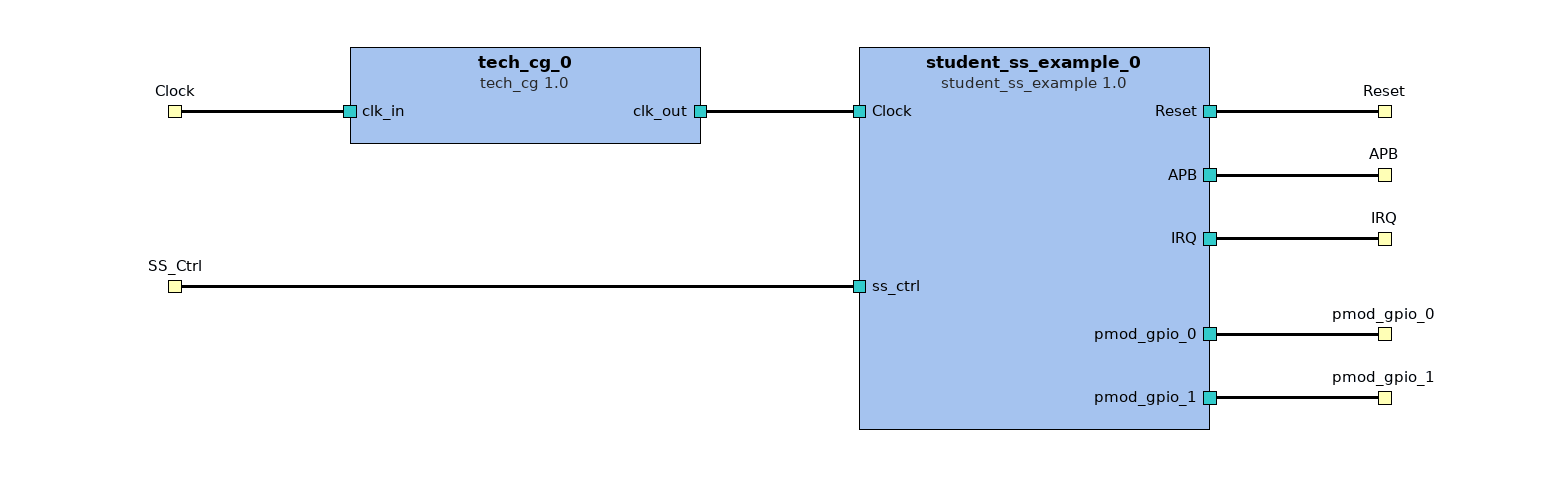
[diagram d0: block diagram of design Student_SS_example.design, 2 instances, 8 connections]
<?xml version="1.0" encoding="UTF-8"?>
<ipxact:design xmlns:xsi="http://www.w3.org/2001/XMLSchema-instance" xmlns:ipxact="http://www.accellera.org/XMLSchema/IPXACT/1685-2022" xmlns:kactus2="http://kactus2.cs.tut.fi" xsi:schemaLocation="http://www.accellera.org/XMLSchema/IPXACT/1685-2022 http://www.accellera.org/XMLSchema/IPXACT/1685-2022/index.xsd"><ipxact:vendor>tuni.fi</ipxact:vendor><ipxact:library>subsystem.wrapper</ipxact:library>
 <ipxact:name>Student_SS_example.design</ipxact:name><ipxact:version>1.0</ipxact:version><ipxact:componentInstances>
 <ipxact:componentInstance><ipxact:instanceName>tech_cg_0</ipxact:instanceName><ipxact:componentRef vendor="tuni.fi" library="tech" name="tech_cg" version="1.0"/></ipxact:componentInstance>
 <ipxact:componentInstance><ipxact:instanceName>student_ss_example_0</ipxact:instanceName><ipxact:componentRef vendor="tuni.fi" library="subsystem" name="student_ss_example" version="1.0"/></ipxact:componentInstance>
</ipxact:componentInstances><ipxact:interconnections>
 <ipxact:interconnection><ipxact:name>student_ss_example_0_ss_ctrl_to_SS_Ctrl</ipxact:name><ipxact:activeInterface componentInstanceRef="student_ss_example_0" busRef="ss_ctrl"/><ipxact:hierInterface busRef="SS_Ctrl"/></ipxact:interconnection>
 <ipxact:interconnection><ipxact:name>tech_cg_0_clk_in_to_Clock</ipxact:name><ipxact:activeInterface componentInstanceRef="tech_cg_0" busRef="clk_in"/><ipxact:hierInterface busRef="Clock"/></ipxact:interconnection>
 <ipxact:interconnection><ipxact:name>tech_cg_0_clk_out_to_student_ss_example_0_Clock</ipxact:name><ipxact:activeInterface componentInstanceRef="tech_cg_0" busRef="clk_out"/><ipxact:activeInterface componentInstanceRef="student_ss_example_0" busRef="Clock"/></ipxact:interconnection>
 <ipxact:interconnection><ipxact:name>student_ss_example_0_Reset_to_Reset</ipxact:name><ipxact:activeInterface componentInstanceRef="student_ss_example_0" busRef="Reset"/><ipxact:hierInterface busRef="Reset"/></ipxact:interconnection>
 <ipxact:interconnection><ipxact:name>student_ss_example_0_APB_to_APB</ipxact:name><ipxact:activeInterface componentInstanceRef="student_ss_example_0" busRef="APB"/><ipxact:hierInterface busRef="APB"/></ipxact:interconnection>
 <ipxact:interconnection><ipxact:name>student_ss_example_0_IRQ_to_IRQ</ipxact:name><ipxact:activeInterface componentInstanceRef="student_ss_example_0" busRef="IRQ"/><ipxact:hierInterface busRef="IRQ"/></ipxact:interconnection>
 <ipxact:interconnection><ipxact:name>student_ss_example_0_pmod_gpio_0_to_pmod_gpio_0</ipxact:name><ipxact:activeInterface componentInstanceRef="student_ss_example_0" busRef="pmod_gpio_0"/><ipxact:hierInterface busRef="pmod_gpio_0"/></ipxact:interconnection>
 <ipxact:interconnection><ipxact:name>student_ss_example_0_pmod_gpio_1_to_pmod_gpio_1</ipxact:name><ipxact:activeInterface componentInstanceRef="student_ss_example_0" busRef="pmod_gpio_1"/><ipxact:hierInterface busRef="pmod_gpio_1"/></ipxact:interconnection>
</ipxact:interconnections><ipxact:parameters>
 <ipxact:parameter parameterId="uuid_0c5d537c_3108_4540_816f_2808eb6e5531"><ipxact:name>APB_AW</ipxact:name><ipxact:description>APB address width</ipxact:description><ipxact:value>32</ipxact:value></ipxact:parameter>
 <ipxact:parameter parameterId="uuid_85f418f8_f5ef_44c5_8edc_3091a7386582"><ipxact:name>APB_DW</ipxact:name><ipxact:description>APB data width</ipxact:description><ipxact:value>32</ipxact:value></ipxact:parameter>
</ipxact:parameters></ipxact:design>

